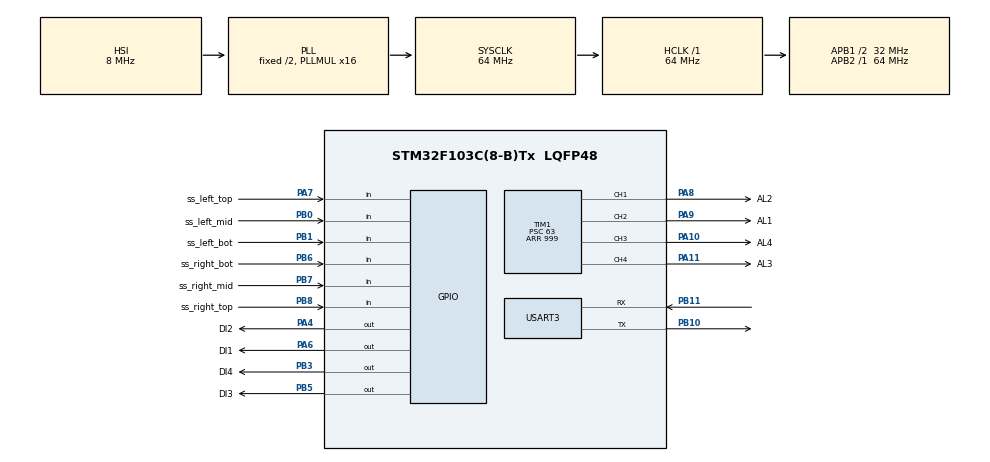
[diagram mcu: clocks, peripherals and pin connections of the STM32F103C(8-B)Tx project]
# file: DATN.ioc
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Mcu.Family=STM32F1
Mcu.Name=STM32F103C(8-B)Tx
Mcu.Package=LQFP48
NVIC.PriorityGroup=NVIC_PRIORITYGROUP_4
PA10.GPIO_Label=AL4
PA10.Signal=S_TIM1_CH3
PA11.GPIO_Label=AL3
PA11.Signal=S_TIM1_CH4
PA13.Mode=Serial_Wire
PA13.Signal=SYS_JTMS-SWDIO
PA14.Mode=Serial_Wire
PA14.Signal=SYS_JTCK-SWCLK
PA4.GPIO_Label=DI2
PA4.Signal=GPIO_Output
PA6.GPIO_Label=DI1
PA6.Signal=GPIO_Output
PA7.GPIO_Label=ss_left_top
PA7.Signal=GPIO_Input
PA8.GPIO_Label=AL2
PA8.Signal=S_TIM1_CH1
PA9.GPIO_Label=AL1
PA9.Signal=S_TIM1_CH2
PB0.GPIO_Label=ss_left_mid
PB0.Signal=GPIO_Input
PB1.GPIO_Label=ss_left_bot
PB1.Signal=GPIO_Input
PB10.Mode=Asynchronous
PB10.Signal=USART3_TX
PB11.Mode=Asynchronous
PB11.Signal=USART3_RX
PB3.GPIO_Label=DI4
PB3.Signal=GPIO_Output
PB5.GPIO_Label=DI3
PB5.Signal=GPIO_Output
PB6.GPIO_Label=ss_right_bot
PB6.Signal=GPIO_Input
PB7.GPIO_Label=ss_right_mid
PB7.Signal=GPIO_Input
PB8.GPIO_Label=ss_right_top
PB8.Signal=GPIO_Input
ProjectManager.HeapSize=0x200
ProjectManager.StackSize=0x400
ProjectManager.TargetToolchain=MDK-ARM V5.32
RCC.AHBFreq_Value=64000000
RCC.APB1CLKDivider=RCC_HCLK_DIV2
RCC.APB1Freq_Value=32000000
RCC.APB1TimFreq_Value=64000000
RCC.APB2Freq_Value=64000000
RCC.APB2TimFreq_Value=64000000
RCC.HCLKFreq_Value=64000000
RCC.PLLMUL=RCC_PLL_MUL16
RCC.SYSCLKFreq_VALUE=64000000
RCC.SYSCLKSource=RCC_SYSCLKSOURCE_PLLCLK
RCC.USBFreq_Value=64000000
SH.S_TIM1_CH1.0=TIM1_CH1,PWM Generation1 CH1
SH.S_TIM1_CH2.0=TIM1_CH2,PWM Generation2 CH2
SH.S_TIM1_CH3.0=TIM1_CH3,PWM Generation3 CH3
SH.S_TIM1_CH4.0=TIM1_CH4,PWM Generation4 CH4
TIM1.Channel-PWM\ Generation1\ CH1=TIM_CHANNEL_1
TIM1.Channel-PWM\ Generation2\ CH2=TIM_CHANNEL_2
TIM1.Channel-PWM\ Generation3\ CH3=TIM_CHANNEL_3
TIM1.Channel-PWM\ Generation4\ CH4=TIM_CHANNEL_4
TIM1.Period=999
TIM1.Prescaler=63
USART3.VirtualMode=VM_ASYNC
board=custom

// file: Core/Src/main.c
/* USER CODE BEGIN Header */
/**
  ******************************************************************************
  * @file           : main.c
  * @brief          : Main program body
  ******************************************************************************
  * @attention
  *
  * Copyright (c) 2023 STMicroelectronics.
  * All rights reserved.
  *
  * This software is licensed under terms that can be found in the LICENSE file
  * in the root directory of this software component.
  * If no LICENSE file comes with this software, it is provided AS-IS.
  *
  ******************************************************************************
  */
/* USER CODE END Header */
#include "main.h"

/* USER CODE BEGIN Includes */
#include "Car.h"
#include "stdio.h"
#include "string.h"
/* USER CODE END Includes */

TIM_HandleTypeDef htim1;

UART_HandleTypeDef huart3;

void SystemClock_Config(void);
static void MX_GPIO_Init(void);
static void MX_TIM1_Init(void);
static void MX_USART3_UART_Init(void);

/* USER CODE BEGIN 0 */
uint8_t data_rx;
Car_go_status car_go_status= Car_go_forward; // bien trang thai chi huong di cua xe
void HAL_UART_RxCpltCallback(UART_HandleTypeDef *huart)
{
	//1->8 bat
	//A -> H tat

	HAL_UART_Receive_IT(&huart3,&data_rx,1);
}
/* USER CODE END 0 */

int main(void)
{

  /* MCU Configuration--------------------------------------------------------*/

  /* Reset of all peripherals, Initializes the Flash interface and the Systick. */
  HAL_Init();

  /* Configure the system clock */
  SystemClock_Config();

  /* Initialize all configured peripherals */
  MX_GPIO_Init();
  MX_TIM1_Init();
  MX_USART3_UART_Init();
  /* USER CODE BEGIN 2 */
//DC_Init(&Right_Bot,GPIOA, GPIO_PIN_6,&htim1, TIM_CHANNEL_2);
//DC_Init(&Left_Bot,GPIOA, GPIO_PIN_4,&htim1, TIM_CHANNEL_1);
//DC_Init(&Left_Top,GPIOB, GPIO_PIN_5,&htim1, TIM_CHANNEL_4);
//DC_Init(&Right_Top,GPIOB, GPIO_PIN_3, &htim1, TIM_CHANNEL_3);
int ss_right_top=0;
int ss_left_top=1;
int ss_left_mid=0;
int ss_right_mid=1;
int ss_left_bot=0;
int ss_right_bot=0;
int turn=0;
		char buff1[50];
		char buff2[50];
		char buff3[50];
		char buff4[50];
uint32_t Time= HAL_GetTick();
Car_Init(&htim1);
HAL_UART_Receive_IT(&huart3,&data_rx,1);
  /* USER CODE END 2 */

  /* Infinite loop */
  /* USER CODE BEGIN WHILE */
  while (1)
  {
ss_right_top= HAL_GPIO_ReadPin(ss_right_top_GPIO_Port, ss_right_top_Pin);
ss_left_top= HAL_GPIO_ReadPin(ss_left_top_GPIO_Port, ss_left_top_Pin);
ss_left_mid= HAL_GPIO_ReadPin(ss_left_mid_GPIO_Port, ss_left_mid_Pin);
ss_right_mid= HAL_GPIO_ReadPin(ss_right_mid_GPIO_Port, ss_right_mid_Pin);
ss_right_bot= HAL_GPIO_ReadPin(ss_right_bot_GPIO_Port, ss_right_bot_Pin);
ss_left_bot= HAL_GPIO_ReadPin(ss_left_bot_GPIO_Port, ss_left_bot_Pin);

while((HAL_GetTick()- Time) <=10000);
//		int len1 = sprintf(buff1,"gia tri ss_right_top: %d\n",ss_right_top);
//		HAL_UART_Transmit(&huart3,(uint8_t *)buff1,len1,300);
//		int len2 = sprintf(buff2,"gia tri ss_left_top: %d\n",ss_left_top);
//		HAL_UART_Transmit(&huart3,(uint8_t *)buff2,len2,300);
//		int len3 = sprintf(buff3,"gia tri ss_left_mid: %d\n",ss_left_mid);
//		HAL_UART_Transmit(&huart3,(uint8_t *)buff3,len3,300);
//		int len4 = sprintf(buff4,"gia tri ss_right_mid: %d\n",ss_right_mid);
//		HAL_UART_Transmit(&huart3,(uint8_t *)buff4,len4,300);
//		HAL_Delay(1000);

//if(turn==8){
//Car_control(Car_stop,25);
//if(data_rx== 'a'){ // tin hieu thoat Stop
//Car_control(Car_forwork,25);
//HAL_Delay(5000);
//turn=0;

//}
//}

if(car_go_status== Car_go_forward){
if(ss_right_mid ==0 && ss_left_mid ==0){
	if(ss_right_top ==0 && ss_left_top ==0){
		// tram stop
		Car_control(Car_stop,25); // hoac lam vong lap o day, chi thoat khi nhan dc tins hieu data_rx== 'a'
		//turn=8; // bang 8 la tram stop
	}
	else if(ss_right_top ==0 && ss_left_top ==1){
		// di sang phai

		Car_control(Car_stop,25);
		HAL_Delay(3000);
		car_go_status=1;   // chuyn trang thai xe xang di phai
		Car_control(Car_move_right,25);
		//HAL_Delay(450);
		HAL_Delay(425);
	}
}
else{
	if(ss_right_top ==1 && ss_left_top ==1){
		Car_control(Car_forwork,25);
	}
	else if(ss_right_top ==0 && ss_left_top ==1){
		Car_control(Car_left,25);
	}
	else if(ss_right_top ==1 && ss_left_top ==0){
		Car_control(Car_right,25);
	}
	else{
    Car_control(Car_forwork,25);
	}
}
}

if(car_go_status==1){
if(ss_left_top ==0 && ss_left_mid ==0){
	if(ss_right_top ==0 && ss_right_mid ==0){
		// tram stop
		Car_control(Car_stop,30);
	}
	else if(ss_right_top ==1 && ss_right_mid ==0){
		// di xuong
		car_go_status=2;
		Car_control(Car_back,25);
		HAL_Delay(425);
	}
}
else{
	if(ss_right_top ==1 && ss_right_mid ==1){
		Car_control(Car_move_right,25);
	}
	else if(ss_right_top ==0 && ss_right_mid ==1){
		Car_control(Car_right,25);
	}
	else if(ss_right_top ==1 && ss_right_mid ==0){
		Car_control(Car_dc_right_back,25);
	}
	else{
    Car_control(Car_move_right,25);
	}
}
}

if(car_go_status ==2){
	// di xuong duoi
	if(ss_right_mid==0 && ss_left_mid ==0){
	if(ss_right_bot ==0 && ss_left_bot ==0){
	  Car_control(Car_stop,25);
	}
	else if(ss_right_bot ==1 && ss_left_bot ==0){
	  // xe di sang phai, chuyen trang thai
		Car_control(Car_stop,30);  // viet tam
	}
	}
	else{
	if(ss_right_bot ==1 && ss_left_bot ==1){
	Car_control(Car_back,25);
	}
	else if(ss_right_bot ==0 && ss_left_bot ==1){
	Car_control(Car_dc_left_back,25);
	}
	else if(ss_right_bot ==1 && ss_left_bot ==0){
	Car_control(Car_dc_right_back,25);
	}
	else{
	Car_control(Car_back,25);
	}
		}
}
// di sang trai
if(car_go_status== 3){
 if(ss_right_mid==0 && ss_right_bot==0){
	 if(ss_left_mid==0 && ss_left_bot==0){
		 Car_control(Car_stop,25); // tram stop
	 }
 }
 else{
 if(ss_left_mid==1 && ss_left_bot==1){
 Car_control(Car_move_left,25);
 }
 else if(ss_left_mid==0 && ss_left_bot==1){
 Car_control(Car_left,25);
 }
 else if(ss_left_mid==1 && ss_left_bot==0){
 Car_control(Car_dc_left_back,25);
 }
 else{
 Car_control(Car_move_left,25);
 }
 }
}
    /* USER CODE END WHILE */

  }
}

void SystemClock_Config(void)
{
  RCC_OscInitTypeDef RCC_OscInitStruct = {0};
  RCC_ClkInitTypeDef RCC_ClkInitStruct = {0};

  /** Initializes the RCC Oscillators according to the specified parameters
  * in the RCC_OscInitTypeDef structure.
  */
  RCC_OscInitStruct.OscillatorType = RCC_OSCILLATORTYPE_HSI;
  RCC_OscInitStruct.HSIState = RCC_HSI_ON;
  RCC_OscInitStruct.HSICalibrationValue = RCC_HSICALIBRATION_DEFAULT;
  RCC_OscInitStruct.PLL.PLLState = RCC_PLL_ON;
  RCC_OscInitStruct.PLL.PLLSource = RCC_PLLSOURCE_HSI_DIV2;
  RCC_OscInitStruct.PLL.PLLMUL = RCC_PLL_MUL16;
  if (HAL_RCC_OscConfig(&RCC_OscInitStruct) != HAL_OK)
  {
    Error_Handler();
  }

  /** Initializes the CPU, AHB and APB buses clocks
  */
  RCC_ClkInitStruct.ClockType = RCC_CLOCKTYPE_HCLK|RCC_CLOCKTYPE_SYSCLK
                              |RCC_CLOCKTYPE_PCLK1|RCC_CLOCKTYPE_PCLK2;
  RCC_ClkInitStruct.SYSCLKSource = RCC_SYSCLKSOURCE_PLLCLK;
  RCC_ClkInitStruct.AHBCLKDivider = RCC_SYSCLK_DIV1;
  RCC_ClkInitStruct.APB1CLKDivider = RCC_HCLK_DIV2;
  RCC_ClkInitStruct.APB2CLKDivider = RCC_HCLK_DIV1;

  if (HAL_RCC_ClockConfig(&RCC_ClkInitStruct, FLASH_LATENCY_2) != HAL_OK)
  {
    Error_Handler();
  }
}

static void MX_TIM1_Init(void)
{

  TIM_MasterConfigTypeDef sMasterConfig = {0};
  TIM_OC_InitTypeDef sConfigOC = {0};
  TIM_BreakDeadTimeConfigTypeDef sBreakDeadTimeConfig = {0};

  htim1.Instance = TIM1;
  htim1.Init.Prescaler = 63;
  htim1.Init.CounterMode = TIM_COUNTERMODE_UP;
  htim1.Init.Period = 999;
  htim1.Init.ClockDivision = TIM_CLOCKDIVISION_DIV1;
  htim1.Init.RepetitionCounter = 0;
  htim1.Init.AutoReloadPreload = TIM_AUTORELOAD_PRELOAD_DISABLE;
  if (HAL_TIM_PWM_Init(&htim1) != HAL_OK)
  {
    Error_Handler();
  }
  sMasterConfig.MasterOutputTrigger = TIM_TRGO_RESET;
  sMasterConfig.MasterSlaveMode = TIM_MASTERSLAVEMODE_DISABLE;
  if (HAL_TIMEx_MasterConfigSynchronization(&htim1, &sMasterConfig) != HAL_OK)
  {
    Error_Handler();
  }
  sConfigOC.OCMode = TIM_OCMODE_PWM1;
  sConfigOC.Pulse = 0;
  sConfigOC.OCPolarity = TIM_OCPOLARITY_HIGH;
  sConfigOC.OCNPolarity = TIM_OCNPOLARITY_HIGH;
  sConfigOC.OCFastMode = TIM_OCFAST_DISABLE;
  sConfigOC.OCIdleState = TIM_OCIDLESTATE_RESET;
  sConfigOC.OCNIdleState = TIM_OCNIDLESTATE_RESET;
  if (HAL_TIM_PWM_ConfigChannel(&htim1, &sConfigOC, TIM_CHANNEL_1) != HAL_OK)
  {
    Error_Handler();
  }
  if (HAL_TIM_PWM_ConfigChannel(&htim1, &sConfigOC, TIM_CHANNEL_2) != HAL_OK)
  {
    Error_Handler();
  }
  if (HAL_TIM_PWM_ConfigChannel(&htim1, &sConfigOC, TIM_CHANNEL_3) != HAL_OK)
  {
    Error_Handler();
  }
  if (HAL_TIM_PWM_ConfigChannel(&htim1, &sConfigOC, TIM_CHANNEL_4) != HAL_OK)
  {
    Error_Handler();
  }
  sBreakDeadTimeConfig.OffStateRunMode = TIM_OSSR_DISABLE;
  sBreakDeadTimeConfig.OffStateIDLEMode = TIM_OSSI_DISABLE;
  sBreakDeadTimeConfig.LockLevel = TIM_LOCKLEVEL_OFF;
  sBreakDeadTimeConfig.DeadTime = 0;
  sBreakDeadTimeConfig.BreakState = TIM_BREAK_DISABLE;
  sBreakDeadTimeConfig.BreakPolarity = TIM_BREAKPOLARITY_HIGH;
  sBreakDeadTimeConfig.AutomaticOutput = TIM_AUTOMATICOUTPUT_DISABLE;
  if (HAL_TIMEx_ConfigBreakDeadTime(&htim1, &sBreakDeadTimeConfig) != HAL_OK)
  {
    Error_Handler();
  }
  HAL_TIM_MspPostInit(&htim1);

}

static void MX_USART3_UART_Init(void)
{

  huart3.Instance = USART3;
  huart3.Init.BaudRate = 115200;
  huart3.Init.WordLength = UART_WORDLENGTH_8B;
  huart3.Init.StopBits = UART_STOPBITS_1;
  huart3.Init.Parity = UART_PARITY_NONE;
  huart3.Init.Mode = UART_MODE_TX_RX;
  huart3.Init.HwFlowCtl = UART_HWCONTROL_NONE;
  huart3.Init.OverSampling = UART_OVERSAMPLING_16;
  if (HAL_UART_Init(&huart3) != HAL_OK)
  {
    Error_Handler();
  }

}

static void MX_GPIO_Init(void)
{
  GPIO_InitTypeDef GPIO_InitStruct = {0};

  /* GPIO Ports Clock Enable */
  __HAL_RCC_GPIOA_CLK_ENABLE();
  __HAL_RCC_GPIOB_CLK_ENABLE();

  /*Configure GPIO pin Output Level */
  HAL_GPIO_WritePin(GPIOA, DI2_Pin|DI1_Pin, GPIO_PIN_RESET);

  /*Configure GPIO pin Output Level */
  HAL_GPIO_WritePin(GPIOB, DI4_Pin|DI3_Pin, GPIO_PIN_RESET);

  /*Configure GPIO pins : DI2_Pin DI1_Pin */
  GPIO_InitStruct.Pin = DI2_Pin|DI1_Pin;
  GPIO_InitStruct.Mode = GPIO_MODE_OUTPUT_PP;
  GPIO_InitStruct.Pull = GPIO_NOPULL;
  GPIO_InitStruct.Speed = GPIO_SPEED_FREQ_LOW;
  HAL_GPIO_Init(GPIOA, &GPIO_InitStruct);

  /*Configure GPIO pin : ss_left_top_Pin */
  GPIO_InitStruct.Pin = ss_left_top_Pin;
  GPIO_InitStruct.Mode = GPIO_MODE_INPUT;
  GPIO_InitStruct.Pull = GPIO_NOPULL;
  HAL_GPIO_Init(ss_left_top_GPIO_Port, &GPIO_InitStruct);

  /*Configure GPIO pins : ss_left_mid_Pin ss_left_bot_Pin ss_right_bot_Pin ss_right_mid_Pin
                           ss_right_top_Pin */
  GPIO_InitStruct.Pin = ss_left_mid_Pin|ss_left_bot_Pin|ss_right_bot_Pin|ss_right_mid_Pin
                          |ss_right_top_Pin;
  GPIO_InitStruct.Mode = GPIO_MODE_INPUT;
  GPIO_InitStruct.Pull = GPIO_NOPULL;
  HAL_GPIO_Init(GPIOB, &GPIO_InitStruct);

  /*Configure GPIO pins : DI4_Pin DI3_Pin */
  GPIO_InitStruct.Pin = DI4_Pin|DI3_Pin;
  GPIO_InitStruct.Mode = GPIO_MODE_OUTPUT_PP;
  GPIO_InitStruct.Pull = GPIO_NOPULL;
  GPIO_InitStruct.Speed = GPIO_SPEED_FREQ_LOW;
  HAL_GPIO_Init(GPIOB, &GPIO_InitStruct);

}

void Error_Handler(void)
{
  __disable_irq();
  while (1)
  {
  }
}
